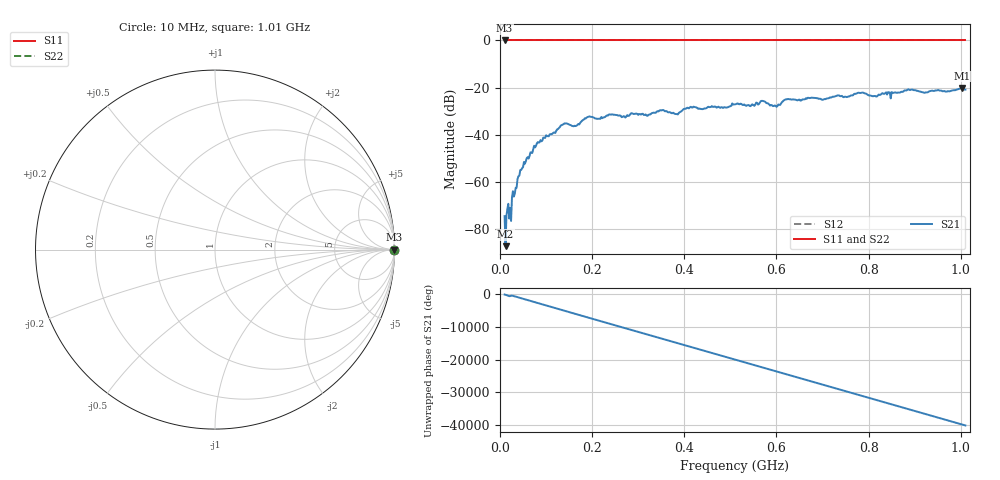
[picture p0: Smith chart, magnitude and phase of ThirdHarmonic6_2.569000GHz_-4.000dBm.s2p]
! 8/17/2025 5:21:48 AM
! C:\ANRITSUVNA\TEMP\TEMP.S2P
! CHANNEL.1
! TR.MEASUREMENT
! RAW.DATA
! RF.CORRECTION.OFF
! AVERAGING.OFF
! IF.BANDWIDTH: 5KHZ
! SWEEPTYPE:  FREQ.SWEEP(Linear)
! Reference Plane Port Info
! PORT:  PORT1  PORT2
! DISTANCE:  0  m  0  m
! TIME:  0  s  0  s
! PHASE.OFFSET:  0  deg.  0  deg.
! LOSS:  0  dB  0  dB
! REF.LOSS:  0  dB  0  dB
! REF.FREQ:  0  Hz  0  Hz
! Power Info
! POWER:  -20  dBm  -20  dBm
! EFF.POWER:  -20  dBm  -20  dBm
! SOURCE.ATTEN:  0  dB  0  dB
! TEST.ATTEN:  0  dB  0  dB
# GHZ S RI R 50.0
! FREQ.GHZ  S11RE  S11IM  S21RE  S21IM  S12RE  S12IM  S22RE  S22IM
!; PortSelection: Port_12
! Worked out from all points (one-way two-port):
!   501 points, 10 MHz to 1.01 GHz, reference 50 ohm
!   highest |S21| = -20.19 dB at 1.002 GHz (marker M1); lowest = -87.4 dB at 12 MHz (marker M2)
!   lowest |S11| = 0.0 dB at 10 MHz (marker M3)
!   |S11| at or under -10 dB: nowhere
!   |S22| runs from 0.0 to 0.0 dB; largest |S21 - S12| = 1.1
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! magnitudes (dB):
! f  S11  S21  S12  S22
! 10 MHz  0.0  -74.6  0.0  0.0
! 12 MHz  0.0  -87.4  0.0  0.0
! 24 MHz  0.0  -76.7  0.0  0.0
! 30 MHz  0.0  -66.3  0.0  0.0
! 48 MHz  0.0  -54.3  0.0  0.0
! 78 MHz  0.0  -44.8  0.0  0.0
! 136 MHz  0.0  -35.8  0.0  0.0
! 162 MHz  0.0  -36.2  0.0  0.0
! 178 MHz  0.0  -34.1  0.0  0.0
! 194 MHz  0.0  -32.3  0.0  0.0
! 322 MHz  0.0  -31.7  0.0  0.0
! 344 MHz  0.0  -30.1  0.0  0.0
! 382 MHz  0.0  -31.2  0.0  0.0
! 410 MHz  0.0  -28.8  0.0  0.0
! 510 MHz  0.0  -27.1  0.0  0.0
! 570 MHz  0.0  -25.7  0.0  0.0
! 598 MHz  0.0  -27.8  0.0  0.0
! 622 MHz  0.0  -25.0  0.0  0.0
! 678 MHz  0.0  -24.4  0.0  0.0
! 844 MHz  0.0  -22.1  0.0  0.0
! 1.002 GHz  0.0  -20.2  0.0  0.0
! 1.01 GHz  0.0  -20.9  0.0  0.0
